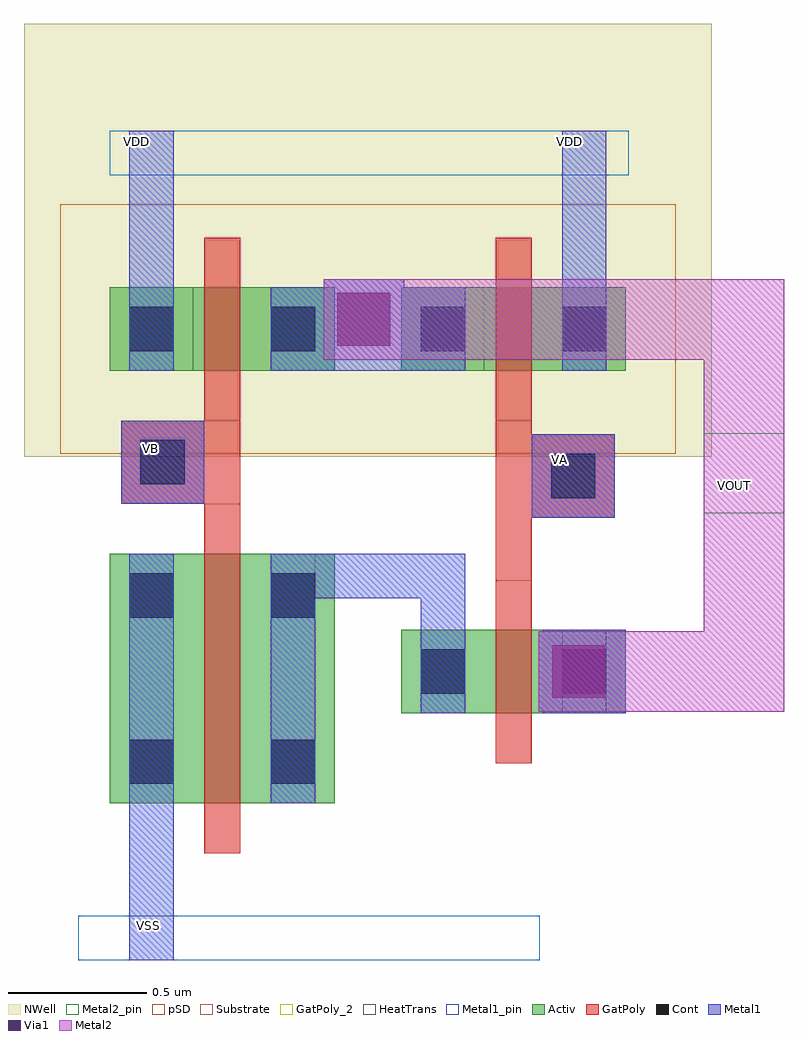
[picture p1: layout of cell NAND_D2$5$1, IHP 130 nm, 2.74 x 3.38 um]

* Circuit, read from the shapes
.subckt NAND_D2$5$1 VA VB VDD VOUT VSS
XM1 n1 VB VSS VSUBS sg13_lv_nmos w=0.9u l=0.13u
XM2 VOUT VA n1 VSUBS sg13_lv_nmos w=0.3u l=0.13u
XM3 VOUT VB VDD n2 sg13_lv_pmos w=0.3u l=0.13u
XM4 VDD VA VOUT n2 sg13_lv_pmos w=0.3u l=0.13u
.ends

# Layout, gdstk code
from math import pi, radians
import gdstk
lib = gdstk.Library(unit=1e-6, precision=5e-09)
def R(c, l, rs):  # rectangles x0, y0, x1, y1
    for r in rs: c.add(gdstk.rectangle(r[:2], r[2:], *l))
Activ = (1, 0)
GatPoly = (5, 0)
GatPoly_2 = (5, 2)
Cont = (6, 0)
Metal1 = (8, 0)
Metal1_pin = (8, 2)
Metal2 = (10, 0)
Metal2_pin = (10, 2)
pSD = (14, 0)
Via1 = (19, 0)
NWell = (31, 0)
Substrate = (40, 0)
HeatTrans = (51, 0)

pmos_2_14_1 = lib.new_cell('pmos$2$14$1')
R(pmos_2_14_1, Activ, [(0,0,0.3,0.3), (0,0,0.81,0.3), (0.51,0,0.81,0.3)])
R(pmos_2_14_1, GatPoly, [(0.34,-0.18,0.47,0.48), (0.34,-0.18,0.47,0.48)])
R(pmos_2_14_1, Cont, [(0.07,0.07,0.23,0.23), (0.58,0.07,0.74,0.23)])
R(pmos_2_14_1, Metal1, [(0.07,0,0.23,0.3), (0.07,0,0.23,0.3), (0.58,0,0.74,0.3), (0.58,0,0.74,0.3)])
R(pmos_2_14_1, pSD, [(-0.18,-0.3,0.99,0.6)])
R(pmos_2_14_1, NWell, [(-0.31,-0.31,1.12,0.61)])
R(pmos_2_14_1, Substrate, [(0.51,0,0.81,0.3)])
R(pmos_2_14_1, HeatTrans, [(0.34,-0.18,0.47,0.48)])
pmos_2_14_1.add(gdstk.Label('pmos', (0.405,0.15), layer=63, texttype=0))
pmos_2_14_1.add(gdstk.Label('pmos', (0.405,0.15), layer=51, texttype=0))

nmos_2_10_1 = lib.new_cell('nmos$2$10$1')
R(nmos_2_10_1, Activ, [(0,0,0.3,0.3), (0,0,0.81,0.3), (0.51,0,0.81,0.3)])
R(nmos_2_10_1, GatPoly, [(0.34,-0.18,0.47,0.48)])
R(nmos_2_10_1, GatPoly_2, [(0.34,-0.18,0.47,0.48)])
R(nmos_2_10_1, Cont, [(0.07,0.07,0.23,0.23), (0.58,0.07,0.74,0.23)])
R(nmos_2_10_1, Metal1, [(0.07,0,0.23,0.3), (0.58,0,0.74,0.3)])
R(nmos_2_10_1, Metal1_pin, [(0.07,0,0.23,0.3), (0.58,0,0.74,0.3)])
R(nmos_2_10_1, HeatTrans, [(0.34,-0.18,0.47,0.48)])
nmos_2_10_1.add(gdstk.Label('nmos', (0.405,0.15), layer=63, texttype=0))
nmos_2_10_1.add(gdstk.Label('nmos', (0.405,0.15), layer=51, texttype=0))

nmos_1_1_4_1 = lib.new_cell('nmos$1$1$4$1')
R(nmos_1_1_4_1, Activ, [(0,0,0.3,0.3), (0,0,0.81,0.9), (0.51,0,0.81,0.3)])
R(nmos_1_1_4_1, GatPoly, [(0.34,-0.18,0.47,1.08)])
R(nmos_1_1_4_1, GatPoly_2, [(0.34,-0.18,0.47,1.08)])
R(nmos_1_1_4_1, Cont, [(0.07,0.07,0.23,0.23), (0.58,0.07,0.74,0.23), (0.07,0.67,0.23,0.83), (0.58,0.67,0.74,0.83)])
R(nmos_1_1_4_1, Metal1, [(0.07,0,0.23,0.9), (0.58,0,0.74,0.9)])
R(nmos_1_1_4_1, Metal1_pin, [(0.07,0,0.23,0.9), (0.58,0,0.74,0.9)])
R(nmos_1_1_4_1, HeatTrans, [(0.34,-0.18,0.47,1.08)])
nmos_1_1_4_1.add(gdstk.Label('nmos', (0.405,0.45), layer=63, texttype=0))
nmos_1_1_4_1.add(gdstk.Label('nmos', (0.405,0.45), layer=51, texttype=0))

via1_constraint_1_7_1 = lib.new_cell('Via1_constraint$1$7$1')
R(via1_constraint_1_7_1, Metal1, [(-0.02,0,0.27,0.29)])
R(via1_constraint_1_7_1, Metal2, [(-0.02,0,0.27,0.29)])
R(via1_constraint_1_7_1, Via1, [(0.03,0.05,0.22,0.24)])

nand_d2_5_1 = lib.new_cell('NAND_D2$5$1')
R(nand_d2_5_1, GatPoly, [(1.45,0.315,1.58,1.07), (0.4,0.655,0.53,1.07), (1.58,0.72,1.88,1.02), (0.1,0.77,0.4,1.07)])
R(nand_d2_5_1, Cont, [(1.65,0.79,1.81,0.95), (0.17,0.84,0.33,1)])
R(nand_d2_5_1, Metal1, [(0.13,-0.875,0.29,-0.31), (1.62,0.015,1.92,0.315), (1.69,0.015,1.89,0.315), (1.58,0.72,1.88,1.02), (0.1,0.77,0.4,1.07), (0.64,1.25,1.34,1.55), (0.13,1.55,0.29,2.115), (1.69,1.55,1.85,2.115)])
R(nand_d2_5_1, Metal1_pin, [(-0.055,-0.875,1.61,-0.715), (1.58,0.72,1.88,1.02), (0.1,0.77,0.4,1.07), (0.06,1.955,1.93,2.115)])
R(nand_d2_5_1, Metal2, [(1.625,0.02,2.49,0.31), (2.2,0.02,2.49,1.58), (0.85,1.29,2.2,1.58)])
R(nand_d2_5_1, Metal2_pin, [(2.2,0.735,2.49,1.025)])
R(nand_d2_5_1, NWell, [(-0.25,1.86,2.23,2.5)])
nand_d2_5_1.add(gdstk.FlexPath([(1.26,0.305),(1.26,0.51),(0.72,0.51),(0.72,0.315)], 0.16, ends="flush", simple_path=True, layer=8, datatype=0))  # Metal1
nand_d2_5_1.add(gdstk.Reference(pmos_2_14_1, (1.92,1.25), rotation=pi, x_reflection=True))
nand_d2_5_1.add(gdstk.Reference(pmos_2_14_1, (0.87,1.25), rotation=pi, x_reflection=True))
nand_d2_5_1.add(gdstk.Reference(nmos_2_10_1, (1.92,0.015), rotation=pi, x_reflection=True))
nand_d2_5_1.add(gdstk.Reference(nmos_1_1_4_1, (0.87,-0.31), rotation=pi, x_reflection=True))
nand_d2_5_1.add(gdstk.Reference(via1_constraint_1_7_1, (1.625,0.02)))
nand_d2_5_1.add(gdstk.Reference(via1_constraint_1_7_1, (0.85,1.29)))
nand_d2_5_1.add(gdstk.Label('VSS', (0.2,-0.75), layer=8, texttype=2))
nand_d2_5_1.add(gdstk.Label('VA', (1.68,0.93), layer=8, texttype=2))
nand_d2_5_1.add(gdstk.Label('VB', (0.205,0.97), layer=8, texttype=2))
nand_d2_5_1.add(gdstk.Label('VDD', (1.715,2.075), layer=8, texttype=2))
nand_d2_5_1.add(gdstk.Label('VDD', (0.155,2.075), layer=8, texttype=2))
nand_d2_5_1.add(gdstk.Label('VOUT', (2.31,0.835), layer=10, texttype=25))

lib.write_gds('NAND_D2_5_1.gds')
